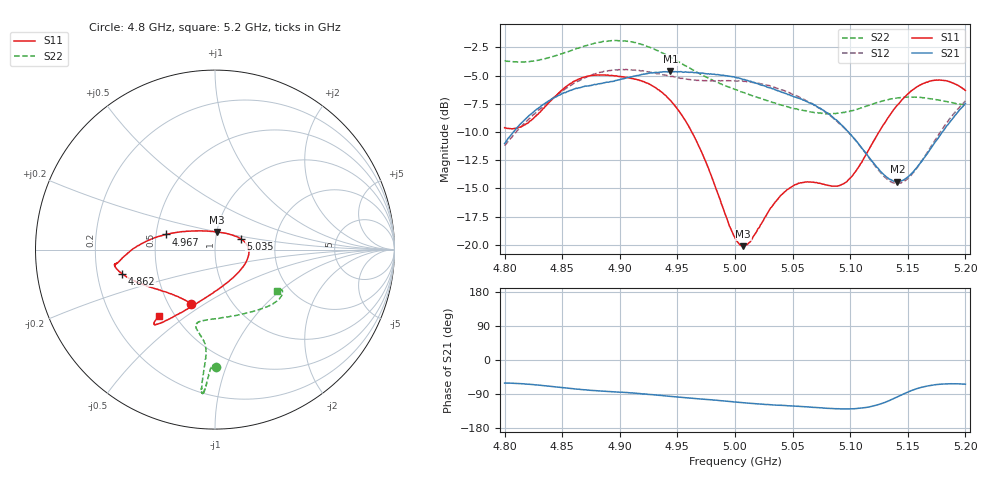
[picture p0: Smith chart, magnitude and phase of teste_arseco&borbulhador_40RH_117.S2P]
! Network Analyzer HP8722D
! Hewlett-Packard
! Data name: Linha & Wilkinson
! Saver's name: Rodrigo Anjos
! Comments: Teste da utilização de aquisição
! continua pelo VNA HP8722D
! Time and date: 15/4/2025 17:19
!  Frequency  S11  S21  S12  S22
# HZ  S  MA R 50
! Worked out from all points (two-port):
!   401 points, 4.8 GHz to 5.2 GHz, reference 50 ohm
!   highest |S21| = -4.63 dB at 4.944 GHz (marker M1); lowest = -14.4 dB at 5.141 GHz (marker M2)
!   |S21| within 3 dB of the highest: 4.832 GHz to 5.07 GHz (237.2 MHz wide, 4.79 % of centre); 5.198647 GHz to end of sweep
!   lowest |S11| = -20.1 dB at 5.007 GHz (marker M3), VSWR 1.22, Z = 50.1 + j9.92 ohm
!   |S11| at or under -10 dB: 4.962 GHz to 5.125 GHz (162.5 MHz wide, 3.22 % of centre)
!   |S22| runs from -8.4 to -1.9 dB; largest |S21 - S12| = 0.88
!   S11 on the Smith chart (normalised r, x): 4.8 GHz: 0.65, -0.44; 4.862 GHz: 0.31, -0.12; 4.967 GHz: 0.56, +0.10; 5.035 GHz: 1.32, +0.17; 5.2 GHz: 0.41, -0.40
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4.8e9  0.3305 -113.7  0.2812 -60.8  0.2751 -175.0  0.6551 -89.5
4.819e9  0.3445 -133.4  0.3646 -63.6  0.3528 -173.2  0.6493 -91.1
4.862e9  0.5362 -165.5  0.4944 -76.6  0.5255 -176.2  0.7396 -93.5
4.867e9  0.5498 -167.4  0.5002 -78.2  0.5411 -177.3  0.7537 -93.6
4.899e9  0.5574 -171.9  0.5379 -84.7  0.5975 176.1  0.8026 -95.0
4.934e9  0.4859 -177.9  0.5818 -93.3  0.5728 172.1  0.7196 -95.5
4.944e9  0.4363 177.7  0.5866 -96.0  0.5575 172.1  0.6794 -95.3
4.967e9  0.2853 162.8  0.5789 -102.1  0.5356 174.1  0.5819 -95.0
5e9  0.1076 107.5  0.5533 -110.9  0.5341 176.6  0.4881 -99.1
5.007e9  0.09861 84.0  0.5406 -112.6  0.5311 176.6  0.4737 -100.7
5.013e9  0.1029 64.9  0.5309 -114.2  0.5259 176.3  0.4619 -102.2
5.035e9  0.1549 23.4  0.4861 -118.9  0.4974 175.2  0.4246 -103.8
5.051e9  0.1834 6.5  0.4532 -121.5  0.4627 174.5  0.4017 -100.0
5.067e9  0.1896 -10.9  0.4219 -124.7  0.4229 174.1  0.3869 -91.8
5.087e9  0.182 -43.4  0.3596 -128.6  0.3577 173.8  0.3812 -76.9
5.097e9  0.1903 -64.6  0.3217 -129.0  0.3205 174.4  0.3882 -68.6
5.134e9  0.3728 -115.9  0.1955 -107.0  0.1917 -159.9  0.4417 -43.4
5.141e9  0.4163 -119.8  0.1907 -97.2  0.1869 -148.9  0.4478 -40.2
5.153e9  0.4812 -124.7  0.2064 -80.9  0.2035 -130.1  0.4516 -35.9
5.17e9  0.5326 -128.3  0.2674 -66.9  0.2719 -112.9  0.4443 -32.0
5.184e9  0.5325 -129.7  0.3378 -62.9  0.3482 -107.2  0.4316 -31.0
5.2e9  0.4832 -130.2  0.4227 -63.9  0.4342 -106.0  0.4152 -33.4
